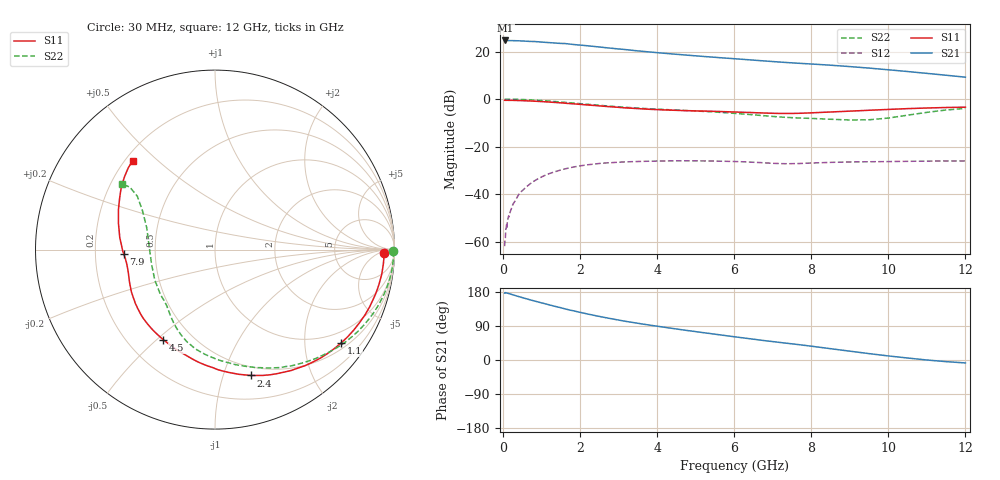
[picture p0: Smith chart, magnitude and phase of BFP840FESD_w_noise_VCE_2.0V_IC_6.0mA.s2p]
! Infineon Technologies  Discrete & RF Semiconductors
! BFP840FESD
! VCE =  2.0 V,  IC =  6.0 mA
! Common Emitter S-Parameters:  May 2012
# GHz  S  MA  R  50
!  f  S11  S21  S12  S22
! GHz  MAG  ANG  MAG  ANG  MAG  ANG  MAG  ANG
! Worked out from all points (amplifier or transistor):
!   103 points, 30 MHz to 12 GHz, reference 50 ohm
!   highest |S21| = 24.7 dB at 50 MHz (marker M1)
!   |S21| within 3 dB of that: start of sweep to 2.633 GHz
!   unconditionally stable (mu >= 1): 6.9 GHz to end of sweep
!   at 400 MHz: K = 0.08, MSG = 32.3 dB, |S12| = -40.1 dB
!   at 3.7 GHz: K = 0.39, MSG = 23.1 dB, |S12| = -26.2 dB
!   at 12 GHz: K = 1.23, MAG = 14.8 dB, |S12| = -26.1 dB
!   lowest NFmin = 0.57 dB at 450 MHz
!   S11 on the Smith chart (normalised r, x): 30 MHz: 31, -9; 1.1 GHz: 0.66, -2.91; 2.4 GHz: 0.41, -1.24; 4.5 GHz: 0.35, -0.53; 7.9 GHz: 0.33, -0.02; 12 GHz: 0.23, +0.42
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0.03  0.9428 -1.0  17.08 176.6  0.0008 69.8  0.9918 -0.6
0.04  0.9426 -1.3  17.07 176.4  0.0011 89.6  0.9927 -0.9
0.05  0.941 -1.7  17.14 177.8  0.0012 50.0  0.9943 -1.1
0.13  0.9417 -4.5  17.03 175.6  0.0034 86.8  0.9942 -3.5
0.5  0.9251 -16.9  16.7 164.4  0.012 78.2  0.9769 -13.8
0.8  0.9022 -26.9  16.3 155.9  0.0189 70.8  0.951 -21.8
1.1  0.8748 -36.4  15.61 147.9  0.0252 64.7  0.918 -29.7
1.6  0.8185 -52.2  14.77 134.9  0.0339 54.5  0.8529 -42.3
2.1  0.7618 -66.3  13.45 123.3  0.0404 45.3  0.7868 -54.4
2.4  0.7292 -74.1  12.7 116.8  0.0432 40.2  0.7514 -61.0
2.7  0.6965 -81.6  11.98 110.8  0.0454 36.0  0.7161 -67.0
3.2  0.6507 -93.2  10.95 101.6  0.0476 30.1  0.6682 -76.1
4.1  0.5952 -111.8  9.324 87.6  0.0497 22.1  0.6079 -89.9
4.5  0.5788 -119.8  8.751 81.8  0.0501 19.2  0.5867 -95.3
5.3  0.5562 -134.2  7.783 70.7  0.0497 14.5  0.5443 -105.2
6.1  0.5307 -147.9  6.977 60.0  0.0482 11.0  0.4938 -114.9
6.8  0.508 -160.0  6.334 50.9  0.0453 9.8  0.4444 -123.9
7.9  0.509 -177.4  5.533 37.7  0.0448 15.2  0.394 -139.8
8.5  0.5347 172.8  5.165 29.8  0.0465 15.7  0.3757 -153.3
9.5  0.5816 157.7  4.489 16.8  0.0479 15.5  0.3667 177.6
10.5  0.6293 146.0  3.8 5.2  0.0489 16.4  0.4584 151.8
12  0.6748 132.9  2.891 -7.8  0.0498 18.9  0.6347 144.9
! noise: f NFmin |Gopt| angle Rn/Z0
0.45  0.57  0.47  5  0.16
0.9  0.61  0.46  12  0.17
1.5  0.62  0.41  18  0.16
1.9  0.63  0.37  27  0.16
2.4  0.65  0.36  33  0.17
3.5  0.67  0.34  55  0.16
5.5  0.75  0.23  93  0.12
8  0.9  0.2  151  0.11
10  1.05  0.25  -148  0.11
12  1.27  0.42  -123  0.13
